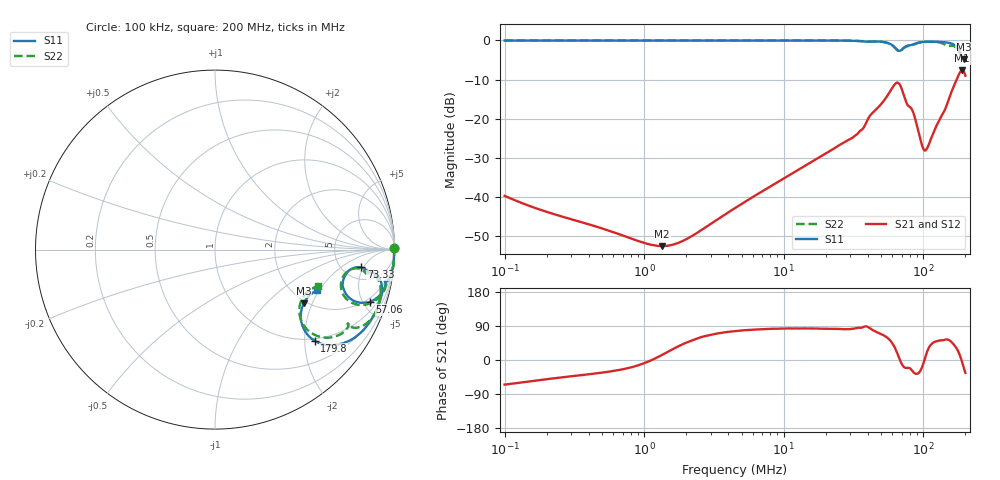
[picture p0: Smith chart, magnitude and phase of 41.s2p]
#  HZ  S  RI  R  50.00
! Rohde & Schwarz Vector Network Analyzer
! Rohde-Schwarz,ZNLE6-2Port,1323001256200024,1.71.1.10-23.02.1.238
! Created: UTC 4/7/2025, 3:30:57 AM
! freq[Hz]  re:S11  im:S11  re:S21  im:S21  re:S12  im:S12  re:S22  im:S22
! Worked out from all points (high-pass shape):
!   1001 points, 100 kHz to 200 MHz, reference 50 ohm
!   highest |S21| = -7.62 dB at 189.6 MHz (marker M1); lowest = -52.6 dB at 1.346 MHz (marker M2)
!   |S21| within 3 dB of the highest: 170.3 MHz to end of sweep
!   lowest |S11| = -4.8 dB at 194 MHz (marker M3), VSWR 3.74, Z = 96.3 - j86.6 ohm
!   |S11| at or under -10 dB: nowhere
!   |S22| runs from -5.1 to 0.0 dB; largest |S21 - S12| = 0.011
!   S11 on the Smith chart (normalised r, x): 100 kHz: open; 57.06 MHz: 1.64, -5.64; 73.33 MHz: 7.39, -4.48; 179.8 MHz: 0.95, -2.23; 200 MHz: 2.64, -1.93
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100000  0.9958 0.0091  0.00437 -0.00931  0.00438 -0.00933  0.9958 0.00901
355854.1  0.9963 0.0021  0.00363 -0.00303  0.00364 -0.00304  0.9964 0.00207
1266322  0.9977 -0.0035  0.00233 0.000347  0.00233 0.000348  0.9978 -0.0037
1345712  0.9977 -0.0039  0.00227 0.000551  0.00228 0.000549  0.9978 -0.0041
1982918  0.998 -0.00703  0.00201 0.00202  0.00201 0.00203  0.998 -0.00725
4472136  0.9981 -0.0186  0.0017 0.00697  0.00176 0.00695  0.9985 -0.0183
1.591428e7  0.9953 -0.069  0.00341 0.028  0.00364 0.0279  0.9956 -0.0705
3.301307e7  0.9733 -0.1567  0.00657 0.0615  0.00797 0.0611  0.9752 -0.1574
5.663162e7  0.8701 -0.2882  0.1204 0.1725  0.1237 0.169  0.8651 -0.2988
5.706372e7  0.8639 -0.2906  0.1266 0.1737  0.13 0.17  0.8587 -0.3012
6.543025e7  0.7159 -0.2164  0.2785 0.0757  0.2789 0.0735  0.7045 -0.226
7.333209e7  0.8145 -0.099  0.1746 -0.0625  0.1731 -0.0672  0.8046 -0.1067
8.408385e7  0.877 -0.1281  0.1065 -0.0627  0.1052 -0.0658  0.8641 -0.1319
9.788884e7  0.93 -0.207  0.043 -0.0147  0.0428 -0.0158  0.9229 -0.219
1.040259e8  0.9291 -0.2439  0.0386 0.00803  0.039 0.00721  0.9214 -0.2595
1.336828e8  0.873 -0.3869  0.0649 0.0826  0.0657 0.0812  0.8308 -0.4206
1.486928e8  0.82 -0.4551  0.0921 0.1277  0.0933 0.1247  0.7405 -0.4182
1.641358e8  0.7269 -0.517  0.1874 0.1693  0.1902 0.1623  0.7126 -0.4632
1.798107e8  0.5548 -0.508  0.3494 0.1172  0.3511 0.1068  0.5484 -0.4714
1.896369e8  0.4773 -0.3742  0.4137 -0.0436  0.4129 -0.0541  0.469 -0.3403
1.940108e8  0.4938 -0.2997  0.3836 -0.1294  0.3817 -0.139  0.4903 -0.2646
2e8  0.5709 -0.2274  0.2934 -0.1975  0.2908 -0.2052  0.5727 -0.2034
